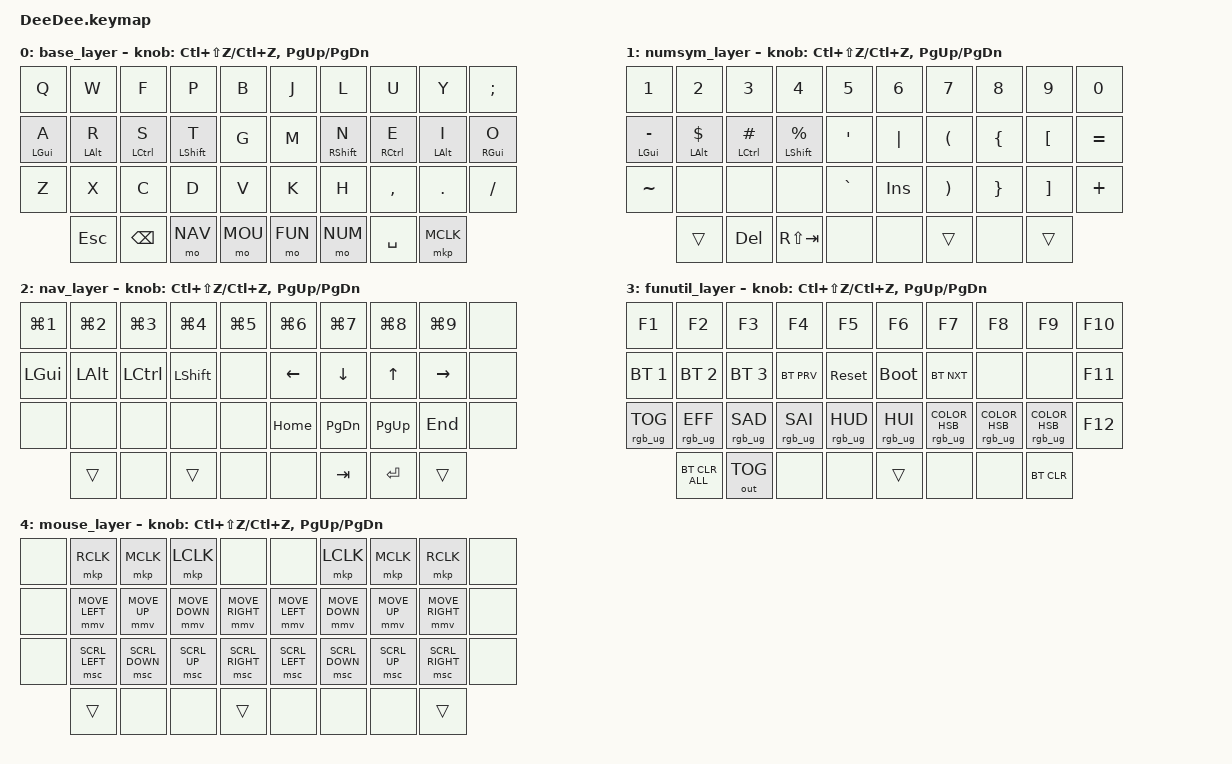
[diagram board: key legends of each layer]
#include <behaviors.dtsi>
#include <dt-bindings/zmk/keys.h>
#include <dt-bindings/zmk/bt.h>
#include <dt-bindings/zmk/outputs.h>
#include <dt-bindings/zmk/pointing.h>
#include <dt-bindings/zmk/rgb.h>

#define BASE 0
#define NUM  1
#define NAV  2
#define FUN  3
#define MOU  4

&mt {
    flavor = "tap-preferred";
    tapping-term-ms = <285>;
    quick-tap-ms = <200>;
    require-prior-idle-ms = <50>;
};

/ {
    keymap {
        compatible = "zmk,keymap";
        base_layer {
            sensor-bindings = <&inc_dec_kp LC(LS(Z)) LC(Z) &inc_dec_kp PG_UP PG_DN>;
            bindings = <
                &kp Q      &kp W      &kp F       &kp P       &kp B    &kp J   &kp L       &kp U       &kp Y      &kp SEMI
                &mt LGUI A &mt LALT R &mt LCTRL S &mt LSHFT T &kp G    &kp M   &mt RSHFT N &mt RCTRL E &mt LALT I	&mt RGUI O
                &kp Z      &kp X      &kp C       &kp D       &kp V    &kp K   &kp H       &kp COMMA   &kp DOT    &kp FSLH
                           &kp ESC    &kp BSPC    &mo NAV     &mo MOU  &mo FUN &mo NUM     &kp SPACE   &mkp MCLK
            >;
        };

        numsym_layer {
            sensor-bindings = <&inc_dec_kp LC(LS(Z)) LC(Z) &inc_dec_kp PG_UP PG_DN>;
            bindings = <
                &kp N1         &kp N2        &kp N3         &kp N4          &kp N5    &kp N6   &kp N7   &kp N8   &kp N9   &kp N0
                &mt LGUI MINUS &mt LALT DLLR &mt LCTRL HASH &mt LSHFT PRCNT &kp APOS  &kp PIPE &kp LPAR &kp LBRC &kp LBKT &kp EQUAL
                &kp TILDE      &none         &none          &none           &kp GRAVE &kp INS  &kp RPAR &kp RBRC &kp RBKT &kp PLUS
                               &trans        &kp DEL        &kp RS(TAB)     &none     &none    &trans   &none    &trans
            >;
        };

        nav_layer {
            sensor-bindings = <&inc_dec_kp LC(LS(Z)) LC(Z) &inc_dec_kp PG_UP PG_DN>;
            bindings = <
                &kp LG(N1) &kp LG(N2) &kp LG(N3) &kp LG(N4) &kp LG(N5) &kp LG(N6) &kp LG(N7)  &kp LG(N8) &kp LG(N9) &none
                &kp LGUI   &kp LALT   &kp LCTRL  &kp LSHFT  &none      &kp LEFT   &kp DOWN    &kp UP     &kp RIGHT  &none
                &none      &none      &none      &none      &none      &kp HOME   &kp PG_DN   &kp PG_UP  &kp END    &none
                           &trans     &none      &trans     &none      &none      &kp TAB     &kp RET    &trans
            >;
        };

        funutil_layer {
            sensor-bindings = <&inc_dec_kp LC(LS(Z)) LC(Z) &inc_dec_kp PG_UP PG_DN>;
            bindings = <
                &kp F1       &kp F2         &kp F3       &kp F4     &kp F5     &kp F6      &kp F7     &kp F8  &kp F9     &kp F10
                &bt BT_SEL 1 &bt BT_SEL 2   &bt BT_SEL 3 &bt BT_PRV &sys_reset &bootloader &bt BT_NXT &none   &none      &kp F11
                &rgb_ug RGB_TOG &rgb_ug RGB_EFF &rgb_ug RGB_SAD &rgb_ug RGB_SAI &rgb_ug RGB_HUD &rgb_ug RGB_HUI &rgb_ug RGB_COLOR_HSB(0,100,16)  &rgb_ug RGB_COLOR_HSB(120,100,16)  &rgb_ug RGB_COLOR_HSB(240,100,16) &kp F12
                             &bt BT_CLR_ALL &out OUT_TOG &none      &none      &trans      &none      &none   &bt BT_CLR
            >;
        };

        mouse_layer {
            sensor-bindings = <&inc_dec_kp LC(LS(Z)) LC(Z) &inc_dec_kp PG_UP PG_DN>;
            bindings = <
                &none  &mkp RCLK      &mkp MCLK      &mkp LCLK      &none           &none          &mkp LCLK      &mkp MCLK    &mkp RCLK       &none
                &none  &mmv MOVE_LEFT &mmv MOVE_UP   &mmv MOVE_DOWN &mmv MOVE_RIGHT &mmv MOVE_LEFT &mmv MOVE_DOWN &mmv MOVE_UP &mmv MOVE_RIGHT &none
                &none  &msc SCRL_LEFT &msc SCRL_DOWN &msc SCRL_UP   &msc SCRL_RIGHT &msc SCRL_LEFT &msc SCRL_DOWN &msc SCRL_UP &msc SCRL_RIGHT &none
                       &trans         &none          &none          &trans          &none          &none          &none        &trans
            >;
        };
    };
};
